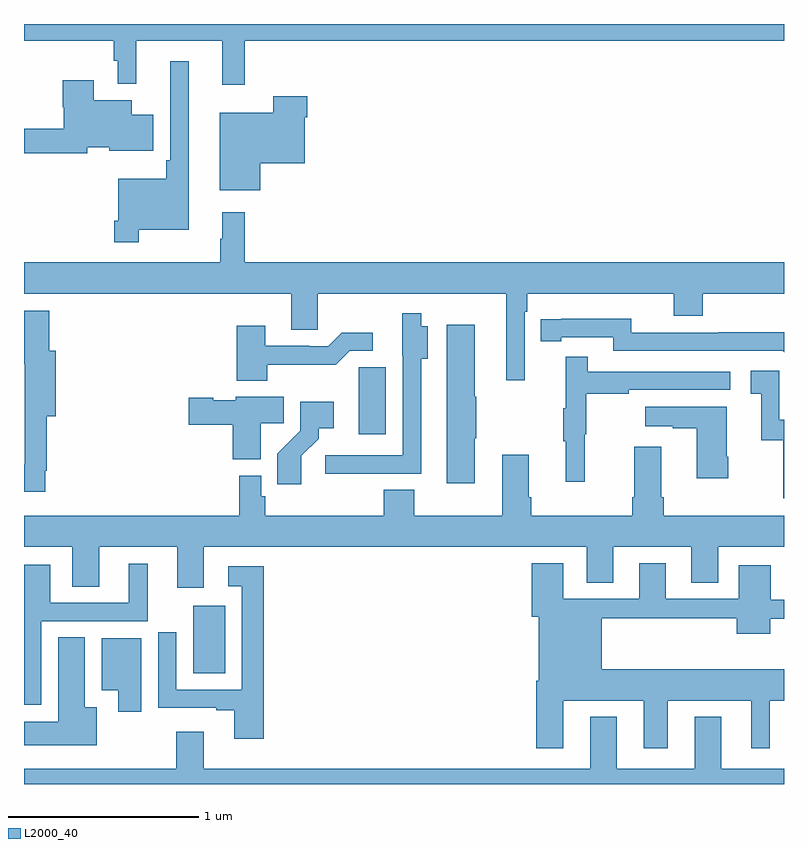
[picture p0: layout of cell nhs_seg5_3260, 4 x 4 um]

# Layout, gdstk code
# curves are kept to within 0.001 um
import gdstk
lib = gdstk.Library(unit=1e-6, precision=1e-09)
def R(c, l, rs):  # rectangles x0, y0, x1, y1
    for r in rs: c.add(gdstk.rectangle(r[:2], r[2:], *l))
def P(c, l, *ps):  # polygons
    for p in ps: c.add(gdstk.Polygon(p, *l))
L2000_40 = (2000, 40)

nhs_seg5_3260 = lib.new_cell('nhs_seg5_3260')
R(nhs_seg5_3260, L2000_40, [(299.891,901.381,300.058,901.738)])
P(nhs_seg5_3260, L2000_40, [(300.161,904.712),(303,904.712),(303,904.799),(299,904.799),(299,904.712),(299.473,904.712),(299.473,904.605),(299.493,904.605),(299.493,904.484),(299.591,904.484),(299.591,904.712),(300.044,904.712),(300.044,904.479),(300.161,904.479)],
  [(299.605,903.716),(299.866,903.716),(299.866,904.603),(299.769,904.603),(299.769,904.081),(299.749,904.081),(299.749,903.985),(299.496,903.985),(299.496,903.763),(299.476,903.763),(299.476,903.651),(299.605,903.651)],
  [(299.334,904.151),(299.448,904.151),(299.448,904.133),(299.68,904.133),(299.68,904.321),(299.566,904.321),(299.566,904.399),(299.368,904.399),(299.368,904.504),(299.203,904.504),(299.203,904.362),(299.21,904.362),(299.21,904.249),(299,904.249),(299,904.12),(299.334,904.12)],
  [(300.244,904.067),(300.478,904.067),(300.478,904.307),(300.491,904.307),(300.491,904.42),(300.313,904.42),(300.313,904.333),(300.029,904.333),(300.029,903.923),(300.244,903.923)],
  [(301.635,903.284),(301.649,903.284),(301.649,903.38),(302.42,903.38),(302.42,903.263),(302.573,903.263),(302.573,903.38),(303,903.38),(303,903.544),(300.161,903.544),(300.161,903.808),(300.044,903.808),(300.044,903.668),(300.033,903.668),(300.033,903.544),(299,903.544),(299,903.38),(300.407,903.38),(300.407,903.19),(300.546,903.19),(300.546,903.38),(301.538,903.38),(301.538,902.925),(301.635,902.925)],
  [(299.113,902.449),(299.12,902.449),(299.12,902.735),(299.167,902.735),(299.167,903.079),(299.134,903.079),(299.134,903.289),(299,903.289),(299,903.009),(299.004,903.009),(299.004,902.481),(299,902.481),(299,902.337),(299.113,902.337)],
  [(300.809,902.433),(301.09,902.433),(301.09,903.038),(301.126,903.038),(301.126,903.208),(301.09,903.208),(301.09,903.277),(300.992,903.277),(300.992,903.054),(300.993,903.054),(300.993,902.529),(300.585,902.529),(300.585,902.431),(300.809,902.431)],
  [(303,903.176),(302.656,903.176),(302.656,903.174),(302.196,903.174),(302.196,903.247),(301.72,903.246),(301.72,903.13),(301.828,903.13),(301.828,903.15),(302.1,903.15),(302.1,903.078),(302.994,903.078),(303,903.072)],
  [(301.372,902.62),(301.38,902.62),(301.38,902.837),(301.372,902.837),(301.372,903.217),(301.226,903.217),(301.226,902.382),(301.372,902.382)],
  [(300.279,903.006),(300.641,903.005),(300.714,903.078),(300.835,903.078),(300.835,903.175),(300.673,903.175),(300.6,903.102),(300.5,903.102),(300.5,903.105),(300.271,903.105),(300.271,903.211),(300.119,903.211),(300.119,902.921),(300.279,902.921)],
  [(301.952,902.64),(301.96,902.64),(301.96,902.854),(302.183,902.854),(302.183,902.874),(302.716,902.874),(302.716,902.97),(301.967,902.97),(301.967,903.049),(301.85,903.049),(301.85,902.777),(301.839,902.777),(301.839,902.603),(301.85,902.603),(301.85,902.391),(301.952,902.391)],
  [(300.904,902.993),(300.762,902.993),(300.762,902.882),(300.761,902.882),(300.761,902.64),(300.904,902.64)],
  [(303,902.715),(302.976,902.715),(302.976,902.974),(302.826,902.974),(302.826,902.853),(302.879,902.853),(302.879,902.607),(302.997,902.607),(302.997,902.304),(303,902.304)],
  [(300.247,902.698),(300.368,902.698),(300.368,902.836),(300.114,902.836),(300.114,902.818),(299.997,902.818),(299.997,902.831),(299.868,902.831),(299.868,902.689),(300.098,902.689),(300.098,902.507),(300.247,902.507)],
  [(300.46,902.527),(300.55,902.617),(300.55,902.672),(300.631,902.672),(300.631,902.812),(300.453,902.812),(300.453,902.657),(300.334,902.538),(300.334,902.376),(300.46,902.376)],
  [(302.706,902.521),(302.698,902.521),(302.698,902.785),(302.271,902.785),(302.271,902.681),(302.414,902.681),(302.414,902.671),(302.54,902.671),(302.54,902.409),(302.706,902.409)],
  [(301.961,901.858),(302.101,901.858),(302.101,902.048),(302.513,902.048),(302.513,901.858),(302.653,901.858),(302.653,902.048),(303,902.048),(303,902.212),(302.366,902.212),(302.366,902.308),(302.353,902.308),(302.353,902.575),(302.213,902.575),(302.213,902.308),(302.201,902.308),(302.201,902.212),(301.67,902.212),(301.67,902.308),(301.657,902.308),(301.657,902.533),(301.517,902.533),(301.517,902.212),(301.053,902.212),(301.053,902.348),(300.893,902.348),(300.893,902.212),(300.269,902.212),(300.269,902.313),(300.249,902.313),(300.249,902.422),(300.133,902.422),(300.133,902.212),(299,902.212),(299,902.048),(299.255,902.048),(299.255,901.837),(299.395,901.837),(299.395,902.048),(299.807,902.048),(299.807,901.833),(299.947,901.833),(299.947,902.048),(301.961,902.048)],
  [(301.837,901.238),(302.261,901.238),(302.261,900.987),(302.389,900.987),(302.389,901.238),(302.828,901.238),(302.828,900.987),(302.926,900.987),(302.926,901.238),(303,901.238),(303,901.402),(302.041,901.402),(302.041,901.672),(302.75,901.672),(302.75,901.589),(302.928,901.589),(302.928,901.67),(303,901.67),(303,901.77),(302.929,901.77),(302.929,901.951),(302.762,901.951),(302.762,901.773),(302.377,901.773),(302.377,901.96),(302.237,901.96),(302.237,901.773),(301.837,901.773),(301.837,901.96),(301.673,901.96),(301.673,901.68),(301.709,901.68),(301.709,901.342),(301.697,901.342),(301.697,900.987),(301.837,900.987)],
  [(299.091,901.656),(299.651,901.656),(299.651,901.957),(299.552,901.957),(299.552,901.752),(299.137,901.752),(299.137,901.954),(299,901.954),(299,901.215),(299.091,901.215)],
  [(300.263,901.945),(300.075,901.945),(300.075,901.839),(300.147,901.839),(300.147,901.296),(299.802,901.296),(299.802,901.597),(299.706,901.597),(299.706,901.2),(300.011,901.2),(300.011,901.188),(300.107,901.188),(300.107,901.038),(300.263,901.038)],
  [(299.383,901.204),(299.32,901.204),(299.32,901.571),(299.18,901.571),(299.18,901.126),(299,901.126),(299,901.004),(299.383,901.004)],
  [(299.617,901.567),(299.408,901.567),(299.408,901.292),(299.495,901.292),(299.495,901.179),(299.617,901.179)],
  [(303,900.88),(302.671,900.88),(302.671,901.153),(302.531,901.153),(302.531,900.88),(302.119,900.88),(302.119,901.153),(301.979,901.153),(301.979,900.88),(299.947,900.88),(299.947,901.075),(299.8,901.075),(299.8,900.88),(299,900.88),(299,900.799),(303,900.799)])

lib.write_gds('nhs_seg5_3260.gds')
